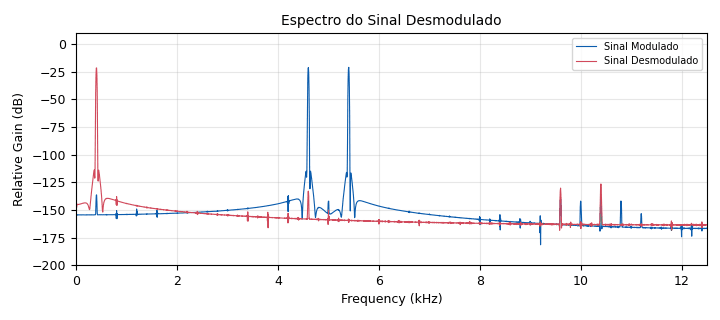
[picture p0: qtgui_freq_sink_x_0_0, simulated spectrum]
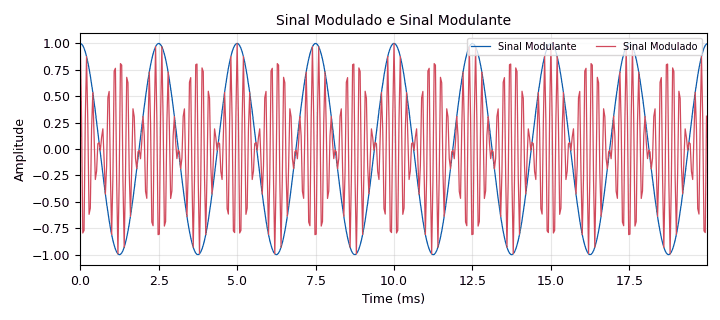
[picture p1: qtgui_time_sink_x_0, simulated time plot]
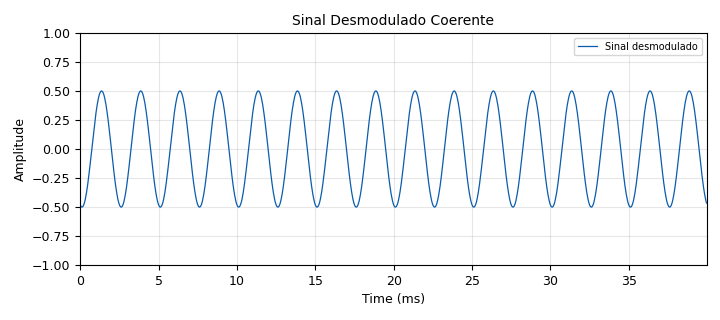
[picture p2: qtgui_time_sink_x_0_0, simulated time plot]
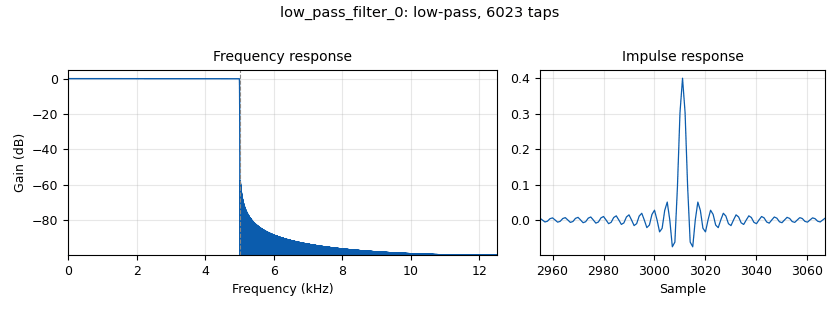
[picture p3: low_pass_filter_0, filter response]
options:
  parameters:
    category: Custom
    generate_options: qt_gui
    id: Labo3_2
    output_language: python
    title: Desmodulação síncrona de AM-DSB-SC
  states: {}

blocks:
- name: A
  id: variable_qtgui_range
  parameters:
    gui_hint: 2,0,1,1
    label: Amp. Portadora
    start: '0'
    step: '0.1'
    stop: '3'
    value: '0'
  states: {}
- name: fc
  id: variable_qtgui_range
  parameters:
    gui_hint: 2,1,1,1
    label: Freq. receptor
    start: '4990'
    step: '0.1'
    stop: '5010'
    value: '5000'
  states: {}
- name: samp_rate
  id: variable
  parameters:
    value: '25000'
  states: {}
- name: theta1
  id: variable_qtgui_range
  parameters:
    gui_hint: 3,0,1,1
    label: fase rec.
    min_len: '100'
    start: '0'
    step: '72'
    stop: '360'
    value: '0'
  states: {}
- name: Amplitude_Portadora
  id: analog_const_source_x
  parameters:
    const: A
    type: float
  states: {}
- name: Portadora
  id: analog_sig_source_x
  parameters:
    amp: '1'
    freq: '5000'
    offset: '0'
    phase: '0'
    samp_rate: samp_rate
    type: float
    waveform: analog.GR_COS_WAVE
  states: {}
- name: Portadora_0
  id: analog_sig_source_x
  parameters:
    amp: '1'
    freq: fc
    offset: '0'
    phase: '0'
    samp_rate: samp_rate
    type: float
    waveform: analog.GR_COS_WAVE
  states: {}
- name: Sinal_Modulante
  id: analog_sig_source_x
  parameters:
    amp: '1'
    freq: '400'
    offset: '0'
    phase: '0'
    samp_rate: samp_rate
    type: float
    waveform: analog.GR_COS_WAVE
  states: {}
- name: blocks_add_xx_0
  id: blocks_add_xx
  parameters:
    type: float
  states: {}
- name: blocks_delay_0
  id: blocks_delay
  parameters:
    delay: int(theta1/72)
    type: float
  states: {}
- name: blocks_multiply_xx_0
  id: blocks_multiply_xx
  parameters:
    type: float
  states: {}
- name: blocks_multiply_xx_0_0
  id: blocks_multiply_xx
  parameters:
    type: float
  states: {}
- name: blocks_throttle_0
  id: blocks_throttle
  parameters:
    samples_per_second: samp_rate
    type: float
  states: {}
- name: dc_blocker_xx_0
  id: dc_blocker_xx
  parameters:
    length: '1200'
    long_form: 'True'
    type: ff
  states: {}
- name: low_pass_filter_0
  id: low_pass_filter
  parameters:
    cutoff_freq: '5000'
    decim: '1'
    gain: '1'
    samp_rate: samp_rate
    type: fir_filter_fff
    width: '10'
    win: window.WIN_HAMMING
  states: {}
- name: qtgui_freq_sink_x_0_0
  id: qtgui_freq_sink_x
  parameters:
    bw: samp_rate
    fc: '0'
    fftsize: '4096'
    freqhalf: 'False'
    grid: 'True'
    gui_hint: 0,1,1,1
    label1: Sinal Modulado
    label2: Sinal Desmodulado
    name: Espectro do Sinal Desmodulado
    nconnections: '2'
    showports: 'True'
    type: float
    ymin: '-200'
  states: {}
- name: qtgui_time_sink_x_0
  id: qtgui_time_sink_x
  parameters:
    autoscale: 'True'
    grid: 'True'
    gui_hint: 0,0,1,1
    label1: Sinal Modulante
    label2: Sinal Modulado
    name: Sinal Modulado e Sinal Modulante
    nconnections: '2'
    size: '500'
    srate: samp_rate
    tr_level: '1'
    type: float
    ymax: '3'
    ymin: '-3'
  states: {}
- name: qtgui_time_sink_x_0_0
  id: qtgui_time_sink_x
  parameters:
    grid: 'True'
    label1: Sinal desmodulado
    name: Sinal Desmodulado Coerente
    size: '1000'
    srate: samp_rate
    tr_level: '1'
    type: float
  states: {}

connections:
- [Amplitude_Portadora, '0', blocks_add_xx_0, '1']
- [Portadora, '0', blocks_throttle_0, '0']
- [Portadora_0, '0', blocks_delay_0, '0']
- [Sinal_Modulante, '0', blocks_add_xx_0, '0']
- [Sinal_Modulante, '0', qtgui_time_sink_x_0, '0']
- [blocks_add_xx_0, '0', blocks_multiply_xx_0, '0']
- [blocks_delay_0, '0', blocks_multiply_xx_0_0, '1']
- [blocks_multiply_xx_0, '0', blocks_multiply_xx_0_0, '0']
- [blocks_multiply_xx_0, '0', qtgui_freq_sink_x_0_0, '0']
- [blocks_multiply_xx_0, '0', qtgui_time_sink_x_0, '1']
- [blocks_multiply_xx_0_0, '0', low_pass_filter_0, '0']
- [blocks_throttle_0, '0', blocks_multiply_xx_0, '1']
- [dc_blocker_xx_0, '0', qtgui_freq_sink_x_0_0, '1']
- [dc_blocker_xx_0, '0', qtgui_time_sink_x_0_0, '0']
- [low_pass_filter_0, '0', dc_blocker_xx_0, '0']

metadata:
  file_format: 1
  grc_version: 3.10.7.0
